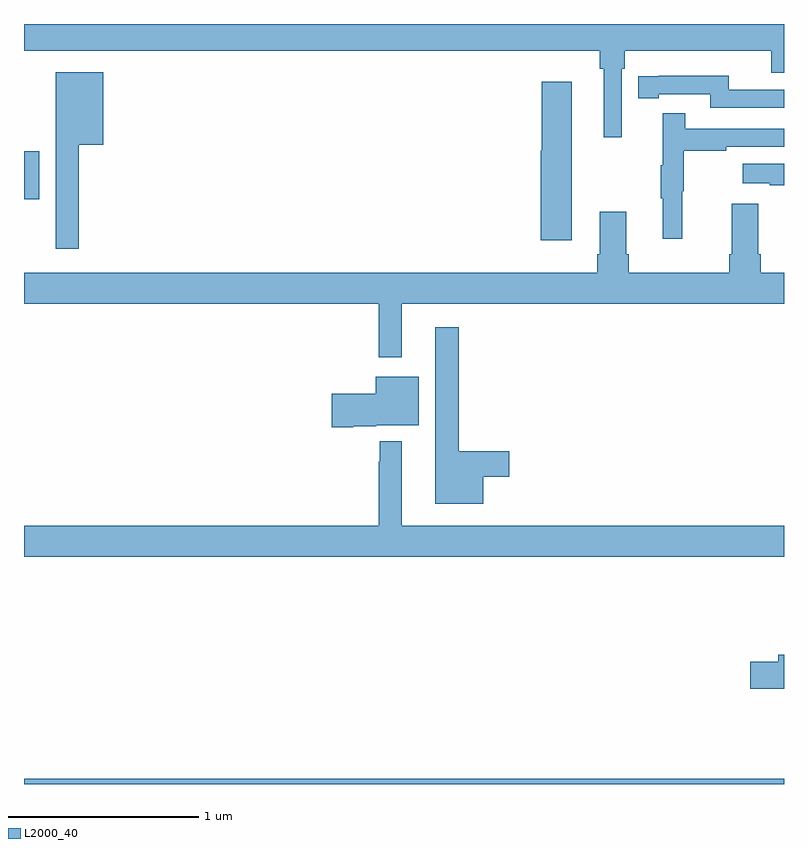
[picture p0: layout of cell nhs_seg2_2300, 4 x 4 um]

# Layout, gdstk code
import gdstk
lib = gdstk.Library(unit=1e-6, precision=1e-09)
def R(c, l, rs):  # rectangles x0, y0, x1, y1
    for r in rs: c.add(gdstk.rectangle(r[:2], r[2:], *l))
def P(c, l, *ps):  # polygons
    for p in ps: c.add(gdstk.Polygon(p, *l))
L2000_40 = (2000, 40)

nhs_seg2_2300 = lib.new_cell('nhs_seg2_2300')
R(nhs_seg2_2300, L2000_40, [(231,619.8,235,619.828), (231,622.877,231.079,623.131)])
P(nhs_seg2_2300, L2000_40, [(234.147,623.564),(234.161,623.564),(234.161,623.66),(234.932,623.66),(234.932,623.543),(235,623.543),(235,623.8),(231,623.8),(231,623.66),(234.031,623.66),(234.031,623.564),(234.05,623.564),(234.05,623.205),(234.147,623.205)],
  [(231.289,623.165),(231.418,623.165),(231.418,623.545),(231.167,623.545),(231.167,622.617),(231.289,622.617)],
  [(235,623.454),(234.708,623.454),(234.708,623.527),(234.34,623.527),(234.34,623.526),(234.232,623.526),(234.232,623.41),(234.34,623.41),(234.34,623.43),(234.612,623.43),(234.612,623.358),(235,623.358)],
  [(233.884,623.497),(233.726,623.497),(233.726,623.133),(233.72,623.133),(233.72,622.662),(233.884,622.662)],
  [(234.464,622.92),(234.472,622.92),(234.472,623.134),(234.695,623.134),(234.695,623.154),(235,623.154),(235,623.25),(234.479,623.25),(234.479,623.329),(234.362,623.329),(234.362,623.057),(234.351,623.057),(234.351,622.883),(234.362,622.883),(234.362,622.671),(234.464,622.671)],
  [(235,623.065),(234.783,623.065),(234.783,622.961),(234.926,622.961),(234.926,622.951),(235,622.951)],
  [(234.029,622.813),(234.029,622.588),(234.017,622.588),(234.017,622.492),(231,622.492),(231,622.328),(232.866,622.328),(232.866,622.047),(232.987,622.047),(232.987,622.328),(235,622.328),(235,622.492),(234.878,622.492),(234.878,622.588),(234.865,622.588),(234.865,622.855),(234.725,622.855),(234.725,622.588),(234.713,622.588),(234.713,622.492),(234.182,622.492),(234.182,622.588),(234.169,622.588),(234.169,622.813)],
  [(233.416,621.416),(233.554,621.416),(233.554,621.551),(233.287,621.551),(233.287,622.204),(233.165,622.204),(233.165,621.275),(233.416,621.275)],
  [(232.732,621.683),(232.854,621.683),(232.854,621.689),(233.077,621.689),(233.077,621.943),(232.85,621.943),(232.85,621.855),(232.62,621.855),(232.62,621.677),(232.732,621.677)],
  [(235,621.16),(232.987,621.16),(232.987,621.604),(232.873,621.604),(232.873,621.497),(232.866,621.497),(232.866,621.16),(231,621.16),(231,620.996),(235,620.996)],
  [(235,620.48),(234.971,620.48),(234.971,620.444),(234.822,620.444),(234.822,620.302),(235,620.302)])

lib.write_gds('nhs_seg2_2300.gds')
